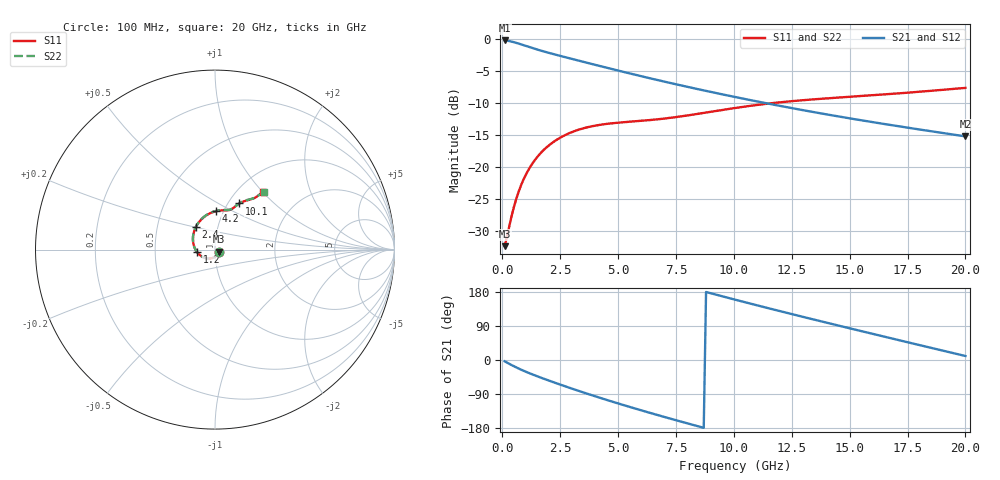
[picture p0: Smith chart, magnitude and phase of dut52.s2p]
! Touchstone file exported from HFSS 2023.1.0
!  File:  D:/Users/fzz/RDL_TSV/temp_RDL_TSV_52_1778745581.aedt
!  Generated:  4:07:12 %x4E0B%x5348  5%x6708 14, 2026
!  Design:  RDL_TSV
!  Project:  temp_RDL_TSV_52_1778745581
!  Setup:  Setup1
!  Solution:  Sweep
! Variables:
!  dtsv = 26.44um
!  hbump = 3um
!  htsv = 98.58um
!  ldown = 439.7um
!  lrdl = 587.06um
!  p = 40
!  p1 = 57.47um
!  rhole = 10um
!  subl = 3667.34um
!  t = 450um
!  tdown = 3.4um
!  trdl = 4.83um
!  viad = 10um
!  wdown = 15.77um
!  wrdl = 12.01um
!  xbump = 18um
# GHz S MA R 50.000000
! Terminal data exported
! Port[1] = TM1_1_T1
! Port[2] = TM1_4_T1
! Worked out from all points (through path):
!   200 points, 100 MHz to 20 GHz, reference 50 ohm
!   highest |S21| = -0.21 dB at 100 MHz (marker M1); lowest = -15.2 dB at 20 GHz (marker M2)
!   group delay of S21, straight-line fit = 46.2 ps
!   lowest |S11| = -32.3 dB at 100 MHz (marker M3), VSWR 1.05, Z = 52.1 - j1.27 ohm
!   |S11| at or under -10 dB: start of sweep to 11.64 GHz
!   |S22| runs from -32.3 to -7.5 dB; largest |S21 - S12| = 8.4e-15
!   S11 on the Smith chart (normalised r, x): 100 MHz: 1.04, -0.03; 1.2 GHz: 0.82, -0.02; 2.4 GHz: 0.79, +0.21; 4.2 GHz: 0.92, +0.41; 10.1 GHz: 1.13, +0.63; 20 GHz: 1.29, +1.00
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0.1  0.02425 -30.2  0.9759 -3.4  0.9759 -3.4  0.02425 -30.2
! Gamma 0 0 0 0
! Port Impedance 50 0 50 0
0.4  0.04152 -92.3  0.9567 -13.3  0.9567 -13.3  0.04151 -92.4
0.6  0.05643 -118.3  0.9353 -19.5  0.9353 -19.5  0.05645 -118.4
0.9  0.07904 -148.1  0.8986 -27.9  0.8986 -27.9  0.07914 -148.2
1.2  0.1003 -171.5  0.8626 -35.6  0.8626 -35.6  0.1006 -171.7
1.7  0.1315 158.5  0.8097 -47.4  0.8097 -47.4  0.1321 158.4
2.4  0.1661 129.3  0.7479 -62.8  0.7479 -62.8  0.1671 129.1
2.9  0.1848 114.1  0.7086 -73.3  0.7086 -73.3  0.1862 114.0
3.5  0.2014 100.2  0.6648 -85.6  0.6648 -85.6  0.2031 100.1
4.2  0.2142 88.3  0.6176 -99.4  0.6176 -99.4  0.2161 88.2
4.8  0.221 81.0  0.5802 -110.9  0.5802 -110.9  0.2231 80.8
5.5  0.2267 75.0  0.54 -123.8  0.54 -123.8  0.2288 74.8
6.1  0.2312 71.6  0.5085 -134.6  0.5085 -134.6  0.2334 71.4
6.8  0.2377 69.0  0.4748 -146.9  0.4748 -146.9  0.2399 68.8
8.3  0.2586 65.7  0.4125 -172.3  0.4125 -172.3  0.2609 65.6
10.1  0.2909 62.0  0.352 158.5  0.352 158.5  0.2937 62.0
11.7  0.3171 58.5  0.3084 133.4  0.3084 133.4  0.3204 58.4
13.4  0.3384 55.2  0.2704 107.6  0.2704 107.6  0.3422 55.1
14.9  0.3537 53.3  0.2426 85.2  0.2426 85.2  0.3577 53.1
16.7  0.3724 51.9  0.2147 58.6  0.2147 58.6  0.3765 51.7
18.3  0.3922 51.2  0.1937 35.2  0.1937 35.2  0.3962 50.9
20  0.4163 50.2  0.1742 10.6  0.1742 10.6  0.4201 49.9
